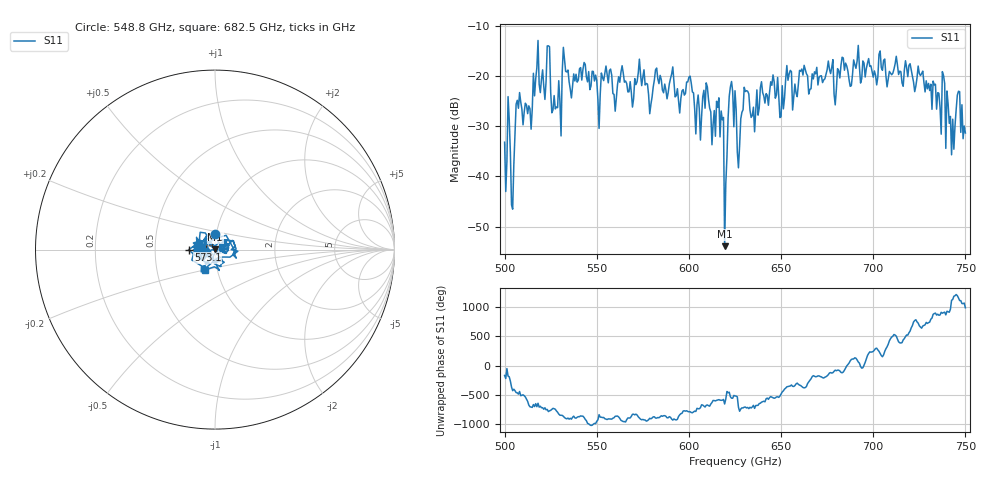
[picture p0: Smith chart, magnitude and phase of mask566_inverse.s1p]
!Created with skrf (http://scikit-rf.org).
# GHz S MA R 50.0
!freq magS11 angS11
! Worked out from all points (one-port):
!   401 points, 500 GHz to 750 GHz, reference 50 ohm
!   lowest |S11| = -53.9 dB at 619.4 GHz (marker M1), VSWR 1.00, Z = 50.1 + j0.177 ohm
!   |S11| at or under -10 dB: start of sweep to end of sweep
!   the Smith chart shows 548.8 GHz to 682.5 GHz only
!   S11 on the Smith chart (normalised r, x): 548.8 GHz: 0.99, +0.18; 573.1 GHz: 0.74, -0.00; 682.5 GHz: 0.87, -0.20
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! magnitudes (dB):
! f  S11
! 500 GHz  -33.2
! 504.4 GHz  -46.5
! 507.5 GHz  -26.4
! 513.8 GHz  -26.5
! 516.9 GHz  -20.5
! 523.8 GHz  -14.0
! 526.9 GHz  -23.9
! 531.2 GHz  -19.2
! 548.8 GHz  -21.0
! 562.5 GHz  -21.2
! 573.1 GHz  -16.6
! 593.8 GHz  -22.5
! 616.2 GHz  -24.3
! 619.4 GHz  -53.9
! 620.6 GHz  -36.2
! 622.5 GHz  -22.1
! 625 GHz  -22.9
! 627.5 GHz  -33.9
! 631.2 GHz  -22.9
! 635 GHz  -26.2
! 656.2 GHz  -26.8
! 682.5 GHz  -17.9
! 687.5 GHz  -22.0
! 718.8 GHz  -20.1
! 738.8 GHz  -21.5
! 742.5 GHz  -35.7
! 746.9 GHz  -23.1
! 750 GHz  -31.3
